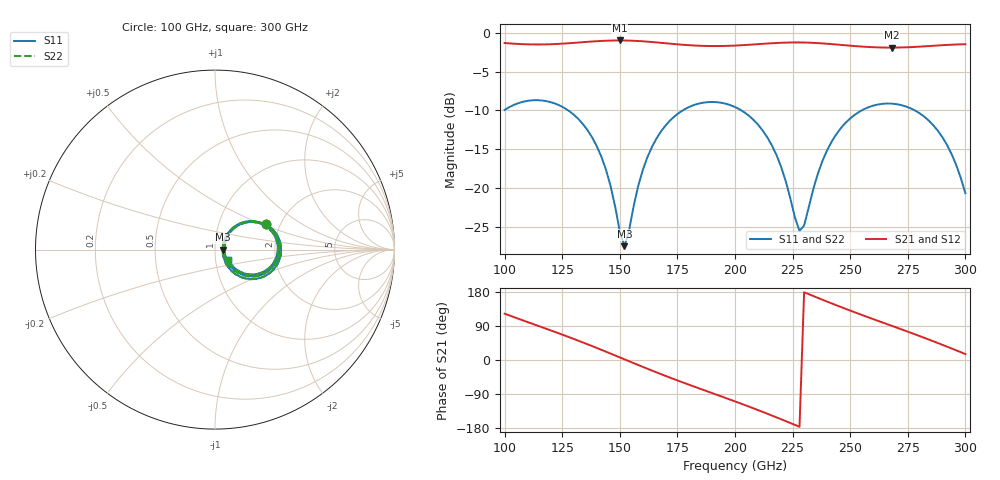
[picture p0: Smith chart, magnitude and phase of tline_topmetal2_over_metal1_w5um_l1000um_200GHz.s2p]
#  GHZ S DB R 50
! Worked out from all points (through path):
!   101 points, 100 GHz to 300 GHz, reference 50 ohm
!   highest |S21| = -0.99 dB at 150 GHz (marker M1); lowest = -1.9 dB at 268 GHz (marker M2)
!   group delay of S21, straight-line fit = 6.51 ps
!   lowest |S11| = -27.5 dB at 152 GHz (marker M3), VSWR 1.09, Z = 54.4 + j0.016 ohm
!   |S11| at or under -10 dB: 127.6 GHz to 177.3 GHz (49.63 GHz wide, 32.6 % of centre); 202.8 GHz to 254.9 GHz (52.15 GHz wide, 22.8 % of centre); 278.1 GHz to end of sweep
!   |S22| runs from -27.5 to -8.7 dB; largest |S21 - S12| = 1e-13
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100  -9.93 26.2  -1.32 122.2  -1.32 122.2  -9.93 26.1
118  -8.79 -8.8  -1.49 82.6  -1.49 82.6  -8.79 -9.0
134  -11.75 -39.5  -1.21 46.2  -1.21 46.2  -11.75 -39.7
144  -17.62 -52.9  -1.03 21.9  -1.03 21.9  -17.63 -53.2
150  -25.56 -32.3  -0.99 6.9  -0.99 6.9  -25.60 -32.6
152  -27.45 0.2  -1.00 1.8  -1.00 1.8  -27.52 0.1
160  -17.63 51.8  -1.10 -18.2  -1.10 -18.2  -17.64 51.8
168  -12.65 42.1  -1.30 -37.6  -1.30 -37.6  -12.65 42.1
184  -9.13 12.5  -1.67 -74.0  -1.67 -74.0  -9.14 12.3
200  -9.55 -17.7  -1.65 -109.3  -1.65 -109.3  -9.56 -17.9
216  -14.48 -44.5  -1.35 -146.5  -1.35 -146.5  -14.50 -44.8
228  -25.49 -6.0  -1.25 -176.2  -1.25 -176.2  -25.64 -6.2
230  -24.79 21.3  -1.26 178.8  -1.26 178.8  -24.91 21.6
234  -20.09 45.9  -1.30 168.8  -1.30 168.8  -20.13 46.3
240  -15.10 47.1  -1.41 154.1  -1.41 154.1  -15.11 47.2
248  -11.58 35.6  -1.61 135.1  -1.61 135.1  -11.59 35.6
258  -9.57 17.7  -1.83 112.3  -1.83 112.3  -9.57 17.6
268  -9.12 -0.8  -1.91 90.3  -1.91 90.3  -9.12 -0.9
278  -9.98 -19.1  -1.82 68.0  -1.82 68.0  -9.98 -19.3
288  -12.59 -36.0  -1.64 44.9  -1.64 44.9  -12.59 -36.3
294  -15.60 -42.8  -1.54 30.4  -1.54 30.4  -15.61 -43.2
300  -20.64 -37.4  -1.48 15.6  -1.48 15.6  -20.69 -37.9
